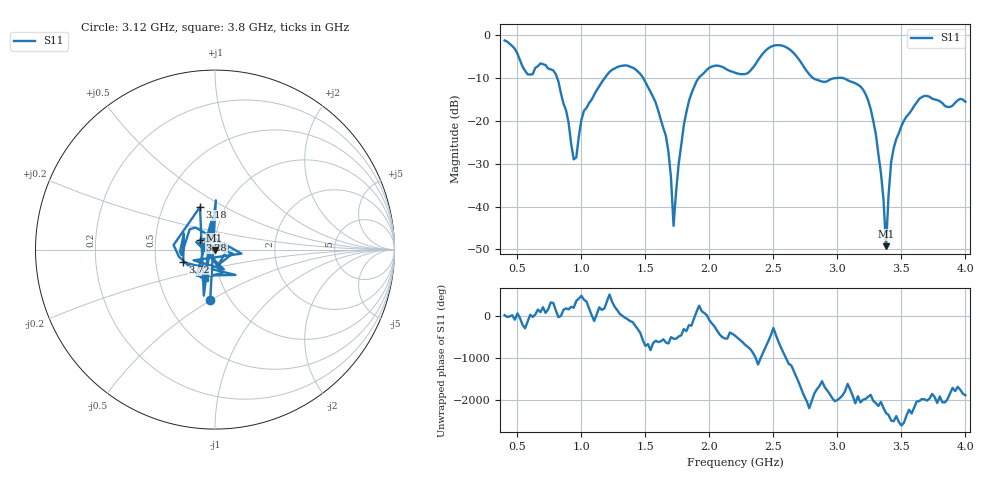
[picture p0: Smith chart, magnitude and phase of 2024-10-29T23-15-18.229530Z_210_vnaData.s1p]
!Created with skrf (http://scikit-rf.org).
# Hz S RI R 50.0
!freq ReS11 ImS11
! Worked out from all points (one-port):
!   181 points, 400 MHz to 4 GHz, reference 50 ohm
!   lowest |S11| = -49.2 dB at 3.38 GHz (marker M1), VSWR 1.01, Z = 49.7 - j0.212 ohm
!   |S11| at or under -10 dB: 810.7 MHz to 1.183 GHz (371.9 MHz wide, 37.3 % of centre); 1.483 GHz to 1.916 GHz (433.5 MHz wide, 25.5 % of centre); 3.041 GHz to end of sweep (the widest 3 of 4)
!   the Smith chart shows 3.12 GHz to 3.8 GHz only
!   S11 on the Smith chart (normalised r, x): 3.12 GHz: 0.81, -0.50; 3.18 GHz: 0.76, +0.39; 3.28 GHz: 0.84, +0.09; 3.72 GHz: 0.69, -0.10; 3.8 GHz: 0.85, -0.28
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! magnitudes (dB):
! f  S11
! 400 MHz  -1.2
! 580 MHz  -9.1
! 780 MHz  -8.2
! 860 MHz  -16.0
! 940 MHz  -29.0
! 1.02 GHz  -17.6
! 1.3 GHz  -7.3
! 1.58 GHz  -15.7
! 1.68 GHz  -27.2
! 1.72 GHz  -44.5
! 1.76 GHz  -30.0
! 1.82 GHz  -18.0
! 1.9 GHz  -10.8
! 2.2 GHz  -8.8
! 2.5 GHz  -2.5
! 2.66 GHz  -4.2
! 2.82 GHz  -10.2
! 3.1 GHz  -10.8
! 3.12 GHz  -11.0
! 3.18 GHz  -12.0
! 3.28 GHz  -20.0
! 3.34 GHz  -32.1
! 3.38 GHz  -49.2
! 3.42 GHz  -29.6
! 3.56 GHz  -18.3
! 3.72 GHz  -14.4
! 3.8 GHz  -15.4
! 4 GHz  -15.6
